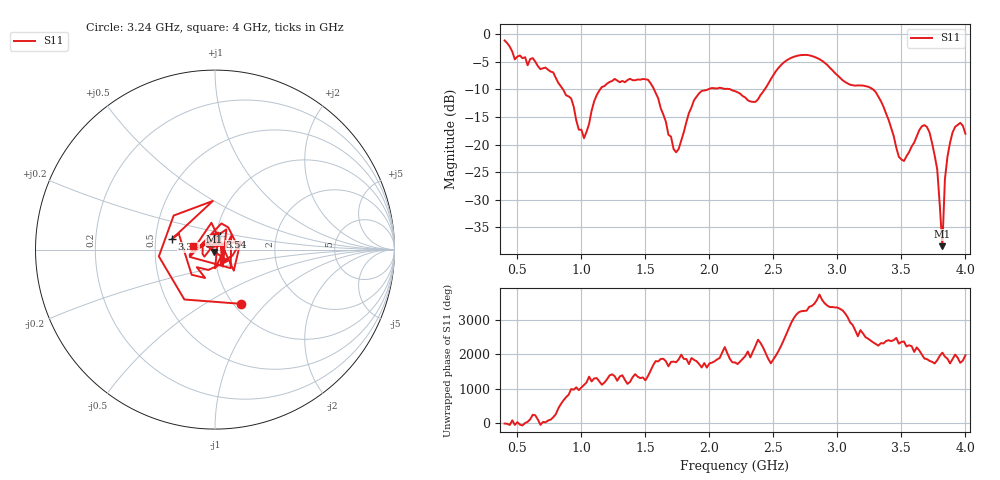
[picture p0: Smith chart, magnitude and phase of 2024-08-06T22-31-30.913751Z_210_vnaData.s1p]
!Created with skrf (http://scikit-rf.org).
# Hz S RI R 50.0
!freq ReS11 ImS11
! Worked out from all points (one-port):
!   181 points, 400 MHz to 4 GHz, reference 50 ohm
!   lowest |S11| = -38.4 dB at 3.82 GHz (marker M1), VSWR 1.02, Z = 49.6 - j1.11 ohm
!   |S11| at or under -10 dB: 856.5 MHz to 1.146 GHz (289.9 MHz wide, 29 % of centre); 1.567 GHz to 1.99 GHz (422.3 MHz wide, 23.7 % of centre); 3.278 GHz to end of sweep (the widest 3 of 4)
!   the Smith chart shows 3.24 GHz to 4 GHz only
!   S11 on the Smith chart (normalised r, x): 3.24 GHz: 1.08, -0.73; 3.34 GHz: 0.61, +0.08; 3.54 GHz: 1.05, +0.15; 4 GHz: 0.78, +0.03
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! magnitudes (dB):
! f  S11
! 400 MHz  -1.1
! 480 MHz  -4.6
! 620 MHz  -4.3
! 860 MHz  -10.1
! 1.02 GHz  -18.9
! 1.14 GHz  -10.2
! 1.3 GHz  -8.7
! 1.52 GHz  -8.2
! 1.72 GHz  -20.8
! 1.76 GHz  -20.8
! 1.92 GHz  -10.7
! 2.2 GHz  -10.3
! 2.36 GHz  -12.3
! 2.66 GHz  -4.1
! 3.1 GHz  -9.2
! 3.24 GHz  -9.5
! 3.34 GHz  -12.1
! 3.48 GHz  -22.2
! 3.54 GHz  -22.1
! 3.56 GHz  -21.4
! 3.66 GHz  -16.7
! 3.72 GHz  -17.8
! 3.78 GHz  -24.5
! 3.82 GHz  -38.4
! 3.84 GHz  -26.3
! 3.88 GHz  -19.7
! 3.96 GHz  -16.1
! 4 GHz  -18.0
